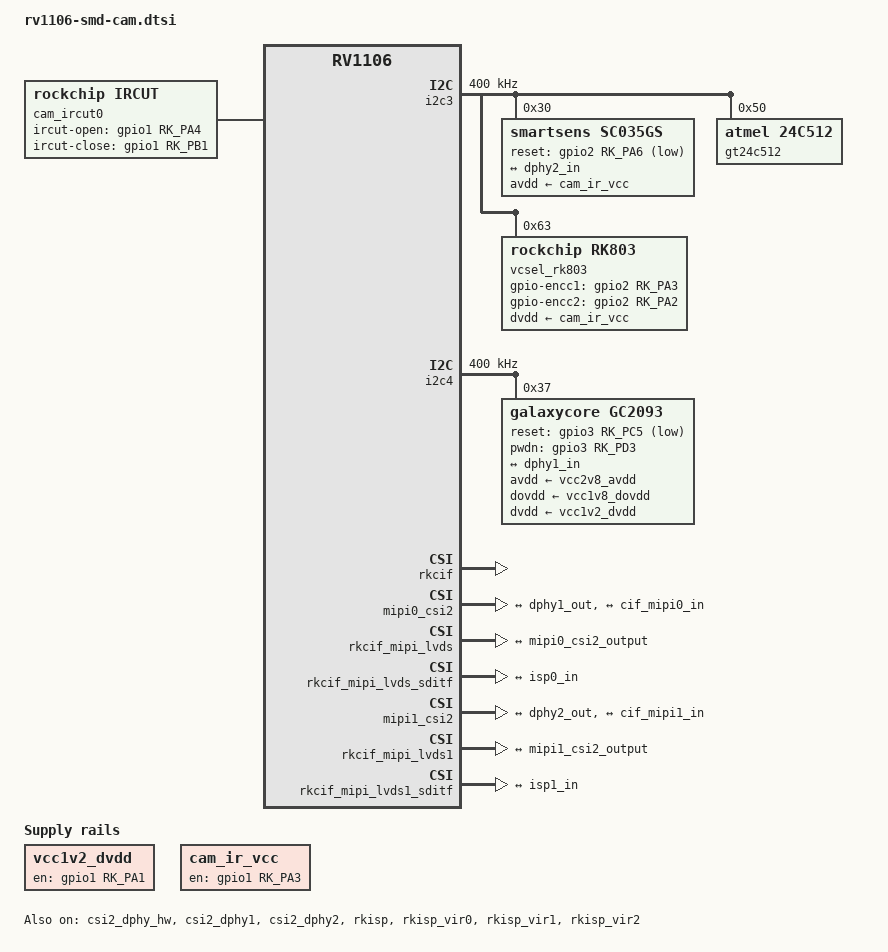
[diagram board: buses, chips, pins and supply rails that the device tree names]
// SPDX-License-Identifier: (GPL-2.0+ OR MIT)
/*
 * Copyright (c) 2022 Rockchip Electronics Co., Ltd.
 */

#include <dt-bindings/display/drm_mipi_dsi.h>
#include <dt-bindings/input/input.h>

/ {
	vcc1v2_dvdd: vcc1v8_dovdd: vcc2v8_avdd: vcc-camera {
		compatible = "regulator-fixed";
		regulator-name = "vcc_camera";
		pinctrl-names = "default";
		pinctrl-0 = <&cam_pwren>;
		enable-active-high;
		gpio = <&gpio1 RK_PA1 GPIO_ACTIVE_HIGH>;
	};

	cam_ircut0: cam_ircut {
		status = "okay";
		compatible = "rockchip,ircut";
		ircut-open-gpios = <&gpio1 RK_PA4 GPIO_ACTIVE_HIGH>;
		ircut-close-gpios = <&gpio1 RK_PB1 GPIO_ACTIVE_HIGH>;
		rockchip,camera-module-index = <0>;
		rockchip,camera-module-facing = "back";
	};

	cam_ir_vcc: cam_ir_vcc-regulator {
		compatible = "regulator-fixed";
		gpio = <&gpio1 RK_PA3 GPIO_ACTIVE_HIGH>;
		pinctrl-names = "default";
		pinctrl-0 = <&cam_ir_pwr>;
		regulator-name = "cam_ir_vcc";
		enable-active-high;
	};
};

&csi2_dphy_hw {
	status = "okay";
};

&csi2_dphy1 {
	status = "okay";
	ports {
		#address-cells = <1>;
		#size-cells = <0>;

		port@0 {
			reg = <0>;
			#address-cells = <1>;
			#size-cells = <0>;

			dphy1_in: endpoint@1 {
				reg = <1>;
				remote-endpoint = <&gc2093_out>;
				data-lanes = <1 2>;
			};
		};

		port@1 {
			reg = <1>;
			#address-cells = <1>;
			#size-cells = <0>;
			dphy1_out: endpoint@1 {
				reg = <1>;
				remote-endpoint = <&mipi0_csi2_input>;
			};
		};
	};
};

&csi2_dphy2 {
	status = "okay";
	ports {
		#address-cells = <1>;
		#size-cells = <0>;

		port@0 {
			reg = <0>;
			#address-cells = <1>;
			#size-cells = <0>;

			dphy2_in: endpoint@1 {
				reg = <1>;
				remote-endpoint = <&sc035gs_out>;
				data-lanes = <1 2>;
			};
		};

		port@1 {
			reg = <1>;
			#address-cells = <1>;
			#size-cells = <0>;

			dphy2_out: endpoint@1 {
				reg = <1>;
				remote-endpoint = <&mipi1_csi2_input>;
			};
		};
	};
};

&i2c3 {
	status = "okay";
	clock-frequency = <400000>;
	pinctrl-names = "default";
	pinctrl-0 = <&i2c3m2_xfer>;

	sc035gs: sc035gs@30 {
		compatible = "smartsens,sc035gs";
		status = "okay";
		reg = <0x30>;
		clocks = <&cru MCLK_REF_MIPI1>;
		clock-names = "xvclk";

		reset-gpios = <&gpio2 RK_PA6 GPIO_ACTIVE_LOW>;
		pinctrl-names = "default";
		pinctrl-0 = <&mipi_refclk_out1>;

		avdd-supply = <&cam_ir_vcc>;

		rockchip,camera-module-index = <1>;
		rockchip,camera-module-facing = "back";
		rockchip,camera-module-name = "default";
		rockchip,camera-module-lens-name = "default";

		port {
			sc035gs_out: endpoint {
				remote-endpoint = <&dphy2_in>;
				data-lanes = <1 2>;
			};
		};
	};

	gt24c512: gt24c512@50 {
		compatible = "atmel,24c512";
		reg = <0x50>;
	};

	vcsel_rk803: vcsel_rk803@63 {
		compatible = "rockchip,rk803";
		status = "okay";
		reg = <0x63>;

		dvdd-supply = <&cam_ir_vcc>;

		gpio-encc1-gpios = <&gpio2 RK_PA3 GPIO_ACTIVE_HIGH>; //Flood
		gpio-encc2-gpios = <&gpio2 RK_PA2 GPIO_ACTIVE_HIGH>; //PRO
	};

};

&i2c4 {
	status = "okay";
	clock-frequency = <400000>;
	pinctrl-names = "default";
	pinctrl-0 = <&i2c4m2_xfer>;

	gc2093: gc2093@37 {
		compatible = "galaxycore,gc2093";
		status = "okay";
		reg = <0x37>;
		clocks = <&cru MCLK_REF_MIPI0>;
		clock-names = "xvclk";
		reset-gpios = <&gpio3 RK_PC5 GPIO_ACTIVE_LOW>;
		pwdn-gpios = <&gpio3 RK_PD3 GPIO_ACTIVE_HIGH>;
		pinctrl-names = "default";
		pinctrl-0 = <&mipi_refclk_out0>;

		avdd-supply = <&vcc2v8_avdd>;
		dovdd-supply = <&vcc1v8_dovdd>;
		dvdd-supply = <&vcc1v2_dvdd>;

		rockchip,camera-module-index = <0>;
		rockchip,camera-module-facing = "back";
		rockchip,camera-module-name = "SIDA209300461";
		rockchip,camera-module-lens-name = "60IRC_F20";

		lens-focus = <&cam_ircut0>;

		port {
			gc2093_out: endpoint {
				remote-endpoint = <&dphy1_in>;
				data-lanes = <1 2>;
			};
		};
	};
};

&rkcif {
	status = "okay";
};

&mipi0_csi2 {
	status = "okay";

	ports {
		#address-cells = <1>;
		#size-cells = <0>;

		port@0 {
			reg = <0>;
			#address-cells = <1>;
			#size-cells = <0>;

			mipi0_csi2_input: endpoint@1 {
				reg = <1>;
				remote-endpoint = <&dphy1_out>;
				data-lanes = <1 2>;
			};
		};

		port@1 {
			reg = <1>;
			#address-cells = <1>;
			#size-cells = <0>;

			mipi0_csi2_output: endpoint@0 {
				reg = <0>;
				remote-endpoint = <&cif_mipi0_in>;
				data-lanes = <1 2>;
			};
		};
	};
};

&rkcif_mipi_lvds {
	status = "okay";

	port {
		/* MIPI CSI-2 endpoint */
		cif_mipi0_in: endpoint {
			remote-endpoint = <&mipi0_csi2_output>;
			data-lanes = <1 2>;
		};
	};
};

&rkcif_mipi_lvds_sditf {
	status = "okay";

	port {
		/* MIPI CSI-2 endpoint */
		mipi_lvds0_sditf: endpoint {
			remote-endpoint = <&isp0_in>;
			data-lanes = <1 2>;
		};
	};
};

&mipi1_csi2 {
	status = "okay";

	ports {
		#address-cells = <1>;
		#size-cells = <0>;

		port@0 {
			reg = <0>;
			#address-cells = <1>;
			#size-cells = <0>;

			mipi1_csi2_input: endpoint@1 {
				reg = <1>;
				remote-endpoint = <&dphy2_out>;
				data-lanes = <1 2>;
			};
		};

		port@1 {
			reg = <1>;
			#address-cells = <1>;
			#size-cells = <0>;

			mipi1_csi2_output: endpoint@0 {
				reg = <0>;
				remote-endpoint = <&cif_mipi1_in>;
				data-lanes = <1 2>;
			};
		};
	};
};

&rkcif_mipi_lvds1 {
	status = "okay";

	port {
		/* MIPI CSI-2 endpoint */
		cif_mipi1_in: endpoint {
			remote-endpoint = <&mipi1_csi2_output>;
			data-lanes = <1 2>;
		};
	};
};

&rkcif_mipi_lvds1_sditf {
	status = "okay";
	port {
		/* MIPI CSI-2 endpoint */
		mipi_lvds1_sditf: endpoint {
			remote-endpoint = <&isp1_in>;
			data-lanes = <1 2>;
		};
	};
};

&rkisp {
	status = "okay";

	pinctrl-names = "default";
	pinctrl-0 = <&mipi_pins>;

	max-input = <1920 1280 30>;
};

&rkisp_vir0 {
	status = "okay";

	ports {
		port@0 {
			isp0_in: endpoint {
				remote-endpoint = <&mipi_lvds0_sditf>;
			};
		};
	};
};

&rkisp_vir1 {
	status = "okay";

	ports {
		port@0 {
			isp1_in: endpoint {
				remote-endpoint = <&mipi_lvds1_sditf>;
			};
		};
	};
};

&rkisp_vir2 {
	status = "okay";
};

&pinctrl {
	cam {
		/* rgb camera power en */
		cam_pwren: cam_pwren-pwr {
			rockchip,pins = <1 RK_PA1 RK_FUNC_GPIO &pcfg_pull_none>;
		};

		cam_ir_pwr: cam-ir-pwr {
			rockchip,pins =
				/* ir camera power en */
				<1 RK_PA3 RK_FUNC_GPIO &pcfg_pull_none>;
		};
	};
};
